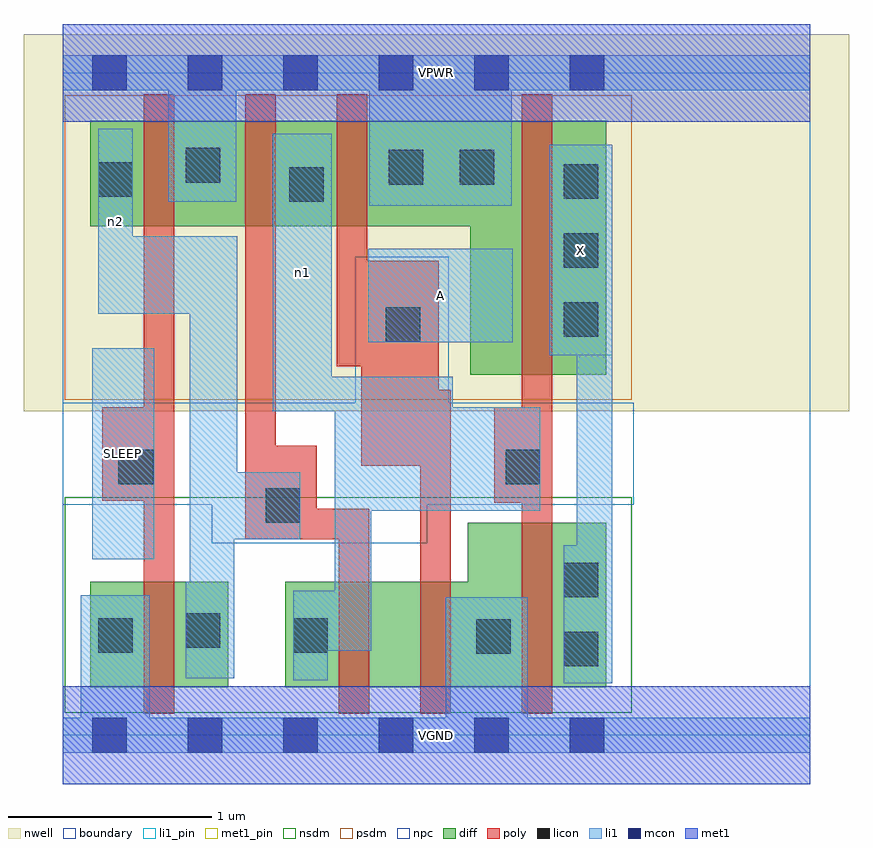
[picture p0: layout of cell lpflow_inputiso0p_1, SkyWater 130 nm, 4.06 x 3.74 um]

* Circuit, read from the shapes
.subckt lpflow_inputiso0p_1 A SLEEP VGND VPWR X n1 n2
XM1 n2 SLEEP VGND VSUBS sky130_fd_pr__nfet_01v8 w=0.52 l=0.15
XM2 n3 n2 n1 VSUBS sky130_fd_pr__nfet_01v8 w=0.52 l=0.15
XM3 VGND A n3 VSUBS sky130_fd_pr__nfet_01v8 w=0.52 l=0.15
XM4 X n1 VGND VSUBS sky130_fd_pr__nfet_01v8 w=0.81 l=0.15
XM5 VPWR SLEEP n2 n4 sky130_fd_pr__pfet_01v8 w=0.52 l=0.15
XM6 n1 n2 VPWR n4 sky130_fd_pr__pfet_01v8 w=0.52 l=0.15
XM7 VPWR A n1 n4 sky130_fd_pr__pfet_01v8 w=0.52 l=0.15
XM8 X n1 VPWR n4 sky130_fd_pr__pfet_01v8 w=1.25 l=0.15
.ends

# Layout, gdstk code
import gdstk
lib = gdstk.Library(unit=1e-6, precision=1e-09)
def R(c, l, rs):  # rectangles x0, y0, x1, y1
    for r in rs: c.add(gdstk.rectangle(r[:2], r[2:], *l))
def A(c, l, x, y, w, h, nx, ny, dx, dy):  # array of equal rectangles
    R(c, l, [(x+i*dx, y+j*dy, x+i*dx+w, y+j*dy+h) for i in range(nx) for j in range(ny)])
nwell = (64, 20)
diff = (65, 20)
poly = (66, 20)
licon = (66, 44)
li1_pin = (67, 16)
li1 = (67, 20)
mcon = (67, 44)
met1_pin = (68, 16)
met1 = (68, 20)
nsdm = (93, 44)
psdm = (94, 20)
npc = (95, 20)
boundary = (235, 4)

lpflow_inputiso0p_1 = lib.new_cell('lpflow_inputiso0p_1')
R(lpflow_inputiso0p_1, nwell, [(-0.19,1.595,3.87,3.45), (0,1.595,3.68,3.45)])
R(lpflow_inputiso0p_1, diff, [(0.135,0.235,0.815,0.755), (1.095,0.235,2.675,0.755), (1.995,0.235,2.675,1.045), (2.005,1.775,2.675,3.025), (0.135,2.505,2.675,3.025)])
R(lpflow_inputiso0p_1, poly, [(0.4,0.105,0.55,3.155), (1.36,0.105,1.51,1.115), (1.76,0.105,1.91,1.7), (2.26,0.105,2.41,3.155), (0.9,0.965,1.05,3.155), (0.9,0.965,1.25,1.425), (0.9,0.965,1.51,1.115), (2.125,1.145,2.41,1.615), (0.195,1.155,0.55,1.615), (1.47,1.325,1.85,2.335), (1.35,1.815,1.5,3.155)])
A(lpflow_inputiso0p_1, licon, 2.465, 1.96, 0.17, 0.17, 1, 3, 0, 0.34)
R(lpflow_inputiso0p_1, licon, [(2.465,0.34,2.635,0.51), (2.035,0.4,2.205,0.57), (0.175,0.405,0.345,0.575), (1.135,0.405,1.305,0.575), (0.605,0.43,0.775,0.6), (2.465,0.68,2.635,0.85), (1,1.045,1.17,1.215), (0.275,1.235,0.445,1.405), (2.18,1.235,2.35,1.405), (1.59,1.935,1.76,2.105), (1.115,2.625,1.285,2.795), (0.175,2.65,0.345,2.82), (1.605,2.71,1.775,2.88), (1.955,2.71,2.125,2.88), (0.605,2.72,0.775,2.89)])
R(lpflow_inputiso0p_1, li1_pin, [(0.145,0.865,0.45,1.905), (2.395,1.87,2.705,2.905), (1.505,1.935,2.215,2.395)])
R(lpflow_inputiso0p_1, li1, [(0,-0.085,3.68,0.085), (0.09,-0.085,0.43,0.69), (1.885,-0.085,2.29,0.68), (2.465,0.255,2.705,0.935), (2.53,0.255,2.705,2.905), (1.135,0.27,1.305,0.71), (0.605,0.28,0.845,0.755), (0.625,0.28,0.845,2.455), (1.135,0.415,1.52,0.71), (1.34,0.415,1.52,1.765), (0.145,0.865,0.45,1.905), (0.625,0.965,1.17,1.295), (0.625,0.965,0.86,2.455), (1.34,1.105,2.35,1.615), (1.035,1.595,1.325,2.96), (1.035,1.595,1.92,1.765), (2.395,1.87,2.705,2.905), (1.505,1.935,2.215,2.395), (0.175,2.075,0.345,2.985), (0.175,2.075,0.86,2.455), (1.51,2.605,2.21,3.345), (0.52,2.625,0.855,3.345), (0,3.175,3.68,3.345)])
A(lpflow_inputiso0p_1, mcon, 0.145, -0.085, 0.17, 0.17, 6, 2, 0.47, 3.26)
R(lpflow_inputiso0p_1, met1_pin, [(0,-0.24,3.68,0.24), (0,3.02,3.68,3.5)])
R(lpflow_inputiso0p_1, met1, [(0,-0.24,3.68,0.24), (0,3.02,3.68,3.5)])
R(lpflow_inputiso0p_1, nsdm, [(0.01,0.11,2.8,1.17)])
R(lpflow_inputiso0p_1, psdm, [(0.01,1.65,2.8,3.15)])
R(lpflow_inputiso0p_1, npc, [(0.735,0.945,1.795,1.635), (0,1.135,2.81,1.635), (1.44,1.135,1.9,2.355)])
R(lpflow_inputiso0p_1, boundary, [(0,0,3.68,3.26)])
lpflow_inputiso0p_1.add(gdstk.Label('A', (1.86,2.165), layer=67, texttype=5))
lpflow_inputiso0p_1.add(gdstk.Label('SLEEP', (0.297,1.385), layer=67, texttype=5))
lpflow_inputiso0p_1.add(gdstk.Label('X', (2.55,2.387), layer=67, texttype=5))
lpflow_inputiso0p_1.add(gdstk.Label('n1', (1.18,2.277), layer=67, texttype=5))
lpflow_inputiso0p_1.add(gdstk.Label('n2', (0.26,2.53), layer=67, texttype=5))
lpflow_inputiso0p_1.add(gdstk.Label('VPWR', (1.84,3.26), layer=68, texttype=5))
lpflow_inputiso0p_1.add(gdstk.Label('VGND', (1.84,0), layer=68, texttype=5))
lpflow_inputiso0p_1.add(gdstk.Label('A', (1.86,2.165), layer=67, texttype=16))
lpflow_inputiso0p_1.add(gdstk.Label('SLEEP', (0.297,1.385), layer=67, texttype=16))
lpflow_inputiso0p_1.add(gdstk.Label('X', (2.55,2.387), layer=67, texttype=16))
lpflow_inputiso0p_1.add(gdstk.Label('VPWR', (1.84,3.26), layer=68, texttype=16))
lpflow_inputiso0p_1.add(gdstk.Label('VGND', (1.84,0), layer=68, texttype=16))

lib.write_gds('lpflow_inputiso0p_1.gds')
